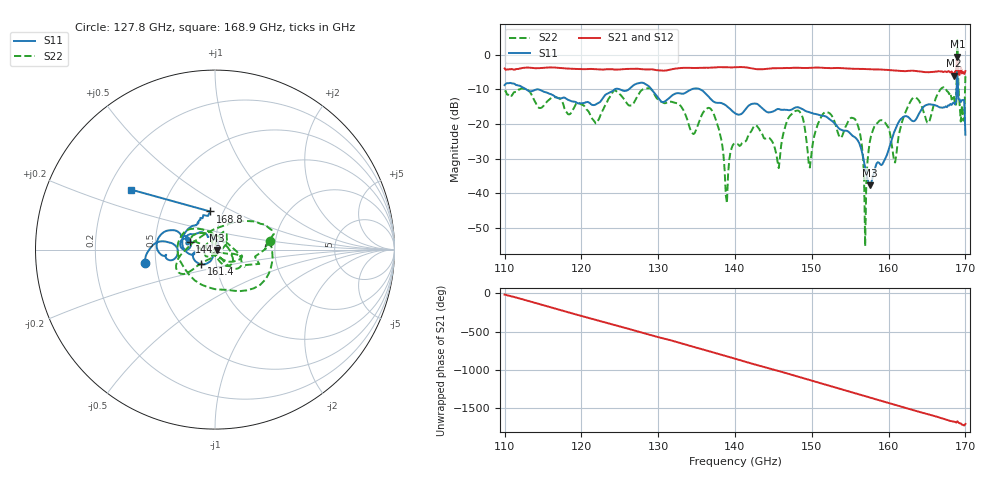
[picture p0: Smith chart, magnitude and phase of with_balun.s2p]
# GHz S RI R 50
! S-Parameters data
! Freq  reS11  imS11  reS21  imS21  reS12  imS12  reS22  imS22
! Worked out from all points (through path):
!   401 points, 110 GHz to 170 GHz, reference 50 ohm
!   highest |S21| = -0.56 dB at 168.9 GHz (marker M1); lowest = -6.0 dB at 168.5 GHz (marker M2)
!   lowest |S11| = -37.7 dB at 157.6 GHz (marker M3), VSWR 1.03, Z = 51.3 - j0.219 ohm
!   |S11| at or under -10 dB: 112.8 GHz to 124.3 GHz (11.55 GHz wide, 9.74 % of centre); 129.1 GHz to 134.4 GHz (5.216 GHz wide, 3.96 % of centre); 135.5 GHz to 168.9 GHz (33.4 GHz wide, 22 % of centre)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
!   |S22| runs from -55.3 to 4.1 dB; largest |S21 - S12| = 0
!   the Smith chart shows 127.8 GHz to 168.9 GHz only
!   S11 on the Smith chart (normalised r, x): 127.8 GHz: 0.44, -0.08; 144.2 GHz: 0.75, +0.07; 161.4 GHz: 0.84, -0.14; 168.8 GHz: 0.87, +0.39; 168.9 GHz: 0.29, +0.29
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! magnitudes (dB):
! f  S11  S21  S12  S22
! 110 GHz  -8.8  -4.0  -4.0  -10.6
! 120 GHz  -14.0  -4.2  -4.2  -14.4
! 127.8 GHz  -8.1  -4.2  -4.2  -10.2
! 130.1 GHz  -12.7  -4.5  -4.5  -13.1
! 134.6 GHz  -9.8  -3.8  -3.8  -22.9
! 136.8 GHz  -12.8  -3.7  -3.7  -15.7
! 138.9 GHz  -14.9  -3.6  -3.6  -42.9
! 140 GHz  -16.9  -3.6  -3.6  -25.6
! 144.2 GHz  -16.6  -4.1  -4.1  -24.1
! 145.7 GHz  -15.7  -3.9  -3.9  -32.8
! 148.1 GHz  -15.2  -3.8  -3.8  -16.1
! 150.1 GHz  -16.9  -3.8  -3.8  -26.8
! 151.6 GHz  -17.7  -3.8  -3.8  -16.9
! 155.4 GHz  -23.6  -4.1  -4.1  -18.4
! 156.9 GHz  -32.7  -4.1  -4.1  -55.3
! 157.6 GHz  -37.7  -4.2  -4.2  -25.2
! 160.1 GHz  -26.7  -4.4  -4.4  -21.9
! 161.4 GHz  -19.0  -4.7  -4.7  -22.0
! 168.5 GHz  -13.8  -6.0  -6.0  -11.7
! 168.8 GHz  -13.4  -4.4  -4.4  -14.3
! 168.9 GHz  -4.8  -0.6  -0.6  4.1
! 170 GHz  -23.1  -4.7  -4.7  -6.2
